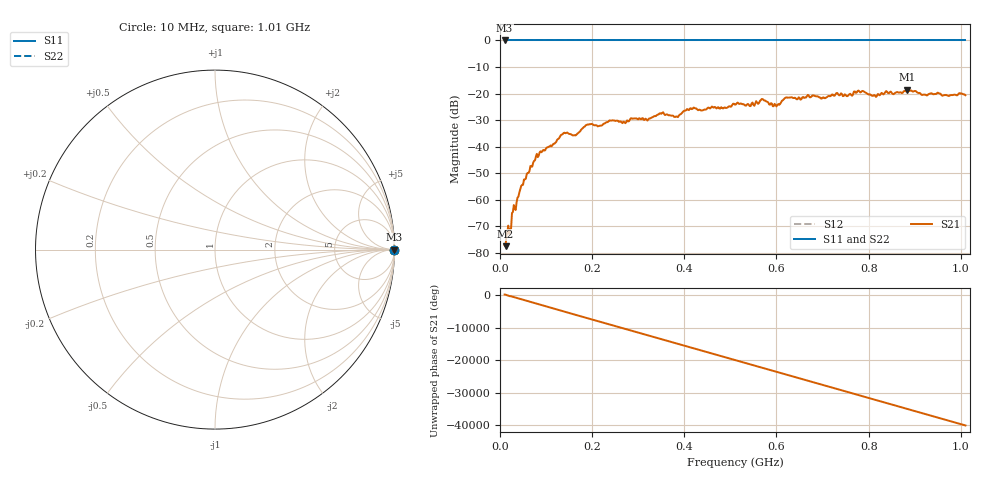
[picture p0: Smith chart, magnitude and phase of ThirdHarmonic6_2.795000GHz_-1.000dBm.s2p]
! 8/17/2025 7:15:07 AM
! C:\ANRITSUVNA\TEMP\TEMP.S2P
! CHANNEL.1
! TR.MEASUREMENT
! RAW.DATA
! RF.CORRECTION.OFF
! AVERAGING.OFF
! IF.BANDWIDTH: 5KHZ
! SWEEPTYPE:  FREQ.SWEEP(Linear)
! Reference Plane Port Info
! PORT:  PORT1  PORT2
! DISTANCE:  0  m  0  m
! TIME:  0  s  0  s
! PHASE.OFFSET:  0  deg.  0  deg.
! LOSS:  0  dB  0  dB
! REF.LOSS:  0  dB  0  dB
! REF.FREQ:  0  Hz  0  Hz
! Power Info
! POWER:  -20  dBm  -20  dBm
! EFF.POWER:  -20  dBm  -20  dBm
! SOURCE.ATTEN:  0  dB  0  dB
! TEST.ATTEN:  0  dB  0  dB
# GHZ S RI R 50.0
! FREQ.GHZ  S11RE  S11IM  S21RE  S21IM  S12RE  S12IM  S22RE  S22IM
!; PortSelection: Port_12
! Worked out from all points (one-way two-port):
!   501 points, 10 MHz to 1.01 GHz, reference 50 ohm
!   highest |S21| = -18.59 dB at 884 MHz (marker M1); lowest = -77.5 dB at 12 MHz (marker M2)
!   lowest |S11| = 0.0 dB at 10 MHz (marker M3)
!   |S11| at or under -10 dB: nowhere
!   |S22| runs from 0.0 to 0.0 dB; largest |S21 - S12| = 1.1
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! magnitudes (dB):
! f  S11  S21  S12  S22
! 10 MHz  0.0  -77.2  0.0  0.0
! 12 MHz  0.0  -77.5  0.0  0.0
! 44 MHz  0.0  -56.0  0.0  0.0
! 76 MHz  0.0  -45.2  0.0  0.0
! 136 MHz  0.0  -35.3  0.0  0.0
! 162 MHz  0.0  -35.7  0.0  0.0
! 178 MHz  0.0  -33.3  0.0  0.0
! 194 MHz  0.0  -31.6  0.0  0.0
! 318 MHz  0.0  -29.8  0.0  0.0
! 344 MHz  0.0  -27.9  0.0  0.0
! 382 MHz  0.0  -28.7  0.0  0.0
! 416 MHz  0.0  -25.9  0.0  0.0
! 510 MHz  0.0  -24.2  0.0  0.0
! 548 MHz  0.0  -23.4  0.0  0.0
! 570 MHz  0.0  -22.1  0.0  0.0
! 596 MHz  0.0  -23.9  0.0  0.0
! 622 MHz  0.0  -21.4  0.0  0.0
! 678 MHz  0.0  -20.8  0.0  0.0
! 844 MHz  0.0  -19.9  0.0  0.0
! 884 MHz  0.0  -18.6  0.0  0.0
! 924 MHz  0.0  -20.5  0.0  0.0
! 1.01 GHz  0.0  -20.6  0.0  0.0
